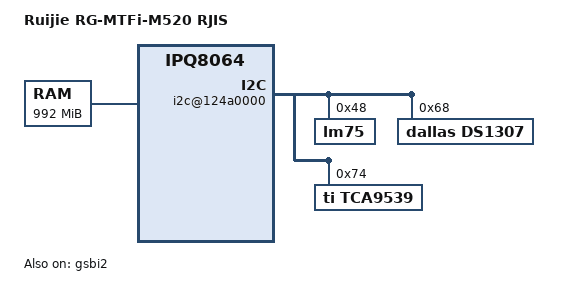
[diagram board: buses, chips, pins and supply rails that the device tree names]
// SPDX-License-Identifier: GPL-2.0-or-later OR MIT

#include "qcom-ipq8064-rg-mtfi-m520.dtsi"

/ {
	model = "Ruijie RG-MTFi-M520 RJIS";
	compatible = "ruijie,rg-mtfi-m520-rjis", "qcom,ipq8064";

	memory@0 {
		reg = <0x42000000 0x3e000000>;
		device_type = "memory";
	};
};

&gsbi2 {
	qcom,mode = <GSBI_PROT_I2C_UART>;
	status = "okay";

	i2c@124a0000 {
		status = "okay";

		lm75@48 {
			status = "okay";
			compatible = "lm75";
			reg = <0x48>;
		};

		ds1307: rtc@68 {
			status = "okay";
			compatible = "dallas,ds1307";
			reg = <0x68>;
		};

		tca9539@74 {
			status = "okay";
			compatible = "ti,tca9539";
			reg = <0x74>;
		};
	};
};
